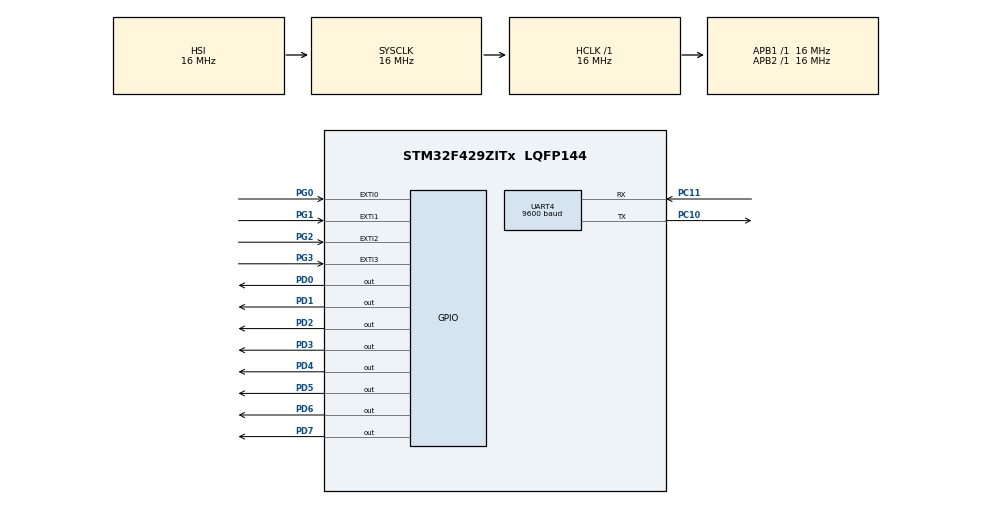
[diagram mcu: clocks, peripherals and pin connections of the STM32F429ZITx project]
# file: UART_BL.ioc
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Mcu.Family=STM32F4
Mcu.Name=STM32F429ZITx
Mcu.Package=LQFP144
NVIC.EXTI0_IRQn=true\:0\:0\:false\:false\:true\:true\:true
NVIC.EXTI1_IRQn=true\:0\:0\:false\:false\:true\:true\:true
NVIC.EXTI2_IRQn=true\:0\:0\:false\:false\:true\:true\:true
NVIC.EXTI3_IRQn=true\:0\:0\:false\:false\:true\:true\:true
NVIC.PriorityGroup=NVIC_PRIORITYGROUP_4
NVIC.UART4_IRQn=true\:0\:0\:false\:false\:true\:true\:true
PC10.Mode=Asynchronous
PC10.Signal=UART4_TX
PC11.Mode=Asynchronous
PC11.Signal=UART4_RX
PD0.GPIO_ModeDefaultOutputPP=GPIO_MODE_OUTPUT_PP
PD0.GPIO_PuPd=GPIO_PULLUP
PD0.GPIO_Speed=GPIO_SPEED_FREQ_HIGH
PD0.PinState=GPIO_PIN_RESET
PD0.Signal=GPIO_Output
PD1.GPIO_ModeDefaultOutputPP=GPIO_MODE_OUTPUT_PP
PD1.GPIO_PuPd=GPIO_PULLUP
PD1.GPIO_Speed=GPIO_SPEED_FREQ_HIGH
PD1.PinState=GPIO_PIN_RESET
PD1.Signal=GPIO_Output
PD2.GPIO_ModeDefaultOutputPP=GPIO_MODE_OUTPUT_PP
PD2.GPIO_PuPd=GPIO_PULLUP
PD2.GPIO_Speed=GPIO_SPEED_FREQ_HIGH
PD2.PinState=GPIO_PIN_RESET
PD2.Signal=GPIO_Output
PD3.GPIO_ModeDefaultOutputPP=GPIO_MODE_OUTPUT_PP
PD3.GPIO_PuPd=GPIO_PULLUP
PD3.GPIO_Speed=GPIO_SPEED_FREQ_HIGH
PD3.PinState=GPIO_PIN_RESET
PD3.Signal=GPIO_Output
PD4.GPIO_ModeDefaultOutputPP=GPIO_MODE_OUTPUT_PP
PD4.GPIO_PuPd=GPIO_PULLUP
PD4.GPIO_Speed=GPIO_SPEED_FREQ_HIGH
PD4.PinState=GPIO_PIN_RESET
PD4.Signal=GPIO_Output
PD5.GPIO_ModeDefaultOutputPP=GPIO_MODE_OUTPUT_PP
PD5.GPIO_PuPd=GPIO_PULLUP
PD5.GPIO_Speed=GPIO_SPEED_FREQ_HIGH
PD5.PinState=GPIO_PIN_RESET
PD5.Signal=GPIO_Output
PD6.GPIO_ModeDefaultOutputPP=GPIO_MODE_OUTPUT_PP
PD6.GPIO_PuPd=GPIO_PULLUP
PD6.GPIO_Speed=GPIO_SPEED_FREQ_HIGH
PD6.PinState=GPIO_PIN_RESET
PD6.Signal=GPIO_Output
PD7.GPIO_ModeDefaultOutputPP=GPIO_MODE_OUTPUT_PP
PD7.GPIO_PuPd=GPIO_PULLUP
PD7.GPIO_Speed=GPIO_SPEED_FREQ_HIGH
PD7.PinState=GPIO_PIN_RESET
PD7.Signal=GPIO_Output
PD8.Signal=USART3_TX
PD9.Signal=USART3_RX
PG0.GPIO_ModeDefaultEXTI=GPIO_MODE_IT_FALLING
PG0.GPIO_PuPd=GPIO_NOPULL
PG0.Signal=GPXTI0
PG1.GPIO_ModeDefaultEXTI=GPIO_MODE_IT_FALLING
PG1.GPIO_PuPd=GPIO_NOPULL
PG1.Signal=GPXTI1
PG2.GPIO_ModeDefaultEXTI=GPIO_MODE_IT_FALLING
PG2.GPIO_PuPd=GPIO_NOPULL
PG2.Signal=GPXTI2
PG3.GPIO_ModeDefaultEXTI=GPIO_MODE_IT_FALLING
PG3.GPIO_PuPd=GPIO_NOPULL
PG3.Signal=GPXTI3
ProjectManager.HeapSize=0x200
ProjectManager.StackSize=0x400
ProjectManager.TargetToolchain=STM32CubeIDE
RCC.AHBFreq_Value=16000000
RCC.APB1Freq_Value=16000000
RCC.APB2Freq_Value=16000000
RCC.CortexFreq_Value=16000000
RCC.HSE_VALUE=25000000
RCC.HSI_VALUE=16000000
RCC.LSE_VALUE=32768
RCC.SYSCLKFreq_VALUE=16000000
RCC.VCOOutputFreq_Value=192000000
UART4.BaudRate=9600
UART4.VirtualMode=Asynchronous
board=custom

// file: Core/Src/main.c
/* USER CODE BEGIN Header */
/**
  ******************************************************************************
  * @file           : main.c
  * @brief          : Main program body
  ******************************************************************************
  * @attention
  *
  * <h2><center>&copy; Copyright (c) 2021 STMicroelectronics.
  * All rights reserved.</center></h2>
  *
  * This software component is licensed by ST under BSD 3-Clause license,
  * the "License"; You may not use this file except in compliance with the
  * License. You may obtain a copy of the License at:
  *                        opensource.org/licenses/BSD-3-Clause
  *
  ******************************************************************************
  */
/* USER CODE END Header */
#include "main.h"

/* USER CODE BEGIN Includes */
#include "string.h"
/* USER CODE END Includes */

/* USER CODE BEGIN PD */

#define TxBufferSize	(countof(TxBuffer) - 1)
#define RxBufferSize	5
#define countof(a)   (sizeof(a) / sizeof(*(a)))
#define sw01_size   (countof(sw01txbuffer) -1)
#define sw02_size   (countof(sw02txbuffer) -1)
#define sw03_size   (countof(sw03txbuffer) -1)
#define sw04_size   (countof(sw04txbuffer) -1)

uint8_t sw01txbuffer[] = "<S11>";
uint8_t sw02txbuffer[] = "<S22>";
uint8_t sw03txbuffer[] = "<S33>";
uint8_t sw04txbuffer[] = "<S44>";
uint8_t base_protocol =0x00;

/* USER CODE END PD */

UART_HandleTypeDef huart4;

/* USER CODE BEGIN PV */

uint8_t TxBuffer[] = "\n\rUART-BlueTooth Example\n\r\n\r";
uint8_t RxBuffer[RxBufferSize];

/* USER CODE END PV */

void SystemClock_Config(void);
static void MX_GPIO_Init(void);
static void MX_UART4_Init(void);
/* USER CODE BEGIN PFP */

void LED_Pin_Mode(uint16_t gpio_pin, unsigned char on_off);
void LED_OnOff(int, int);

/* USER CODE END PFP */

int main(void)
{

  /* MCU Configuration--------------------------------------------------------*/

  /* Reset of all peripherals, Initializes the Flash interface and the Systick. */
  HAL_Init();

  /* Configure the system clock */
  SystemClock_Config();

  /* Initialize all configured peripherals */
  MX_GPIO_Init();
  MX_UART4_Init();
  /* USER CODE BEGIN 2 */

  LED_OnOff(LED_ALL, 500);
  HAL_UART_Transmit(&huart4, (uint8_t*)TxBuffer, TxBufferSize, 0xFFFF);

  /* USER CODE END 2 */

  /* Infinite loop */
  /* USER CODE BEGIN WHILE */
  while (1)
  {
		// -- PC에서 보낸 메시지를 받는다.
		HAL_UART_Receive_IT(&huart4, (uint8_t*)RxBuffer,sizeof(RxBuffer));
    /* USER CODE END WHILE */

  }
}

void SystemClock_Config(void)
{
  RCC_OscInitTypeDef RCC_OscInitStruct = {0};
  RCC_ClkInitTypeDef RCC_ClkInitStruct = {0};

  /** Configure the main internal regulator output voltage
  */
  __HAL_RCC_PWR_CLK_ENABLE();
  __HAL_PWR_VOLTAGESCALING_CONFIG(PWR_REGULATOR_VOLTAGE_SCALE3);
  /** Initializes the RCC Oscillators according to the specified parameters
  * in the RCC_OscInitTypeDef structure.
  */
  RCC_OscInitStruct.OscillatorType = RCC_OSCILLATORTYPE_HSI;
  RCC_OscInitStruct.HSIState = RCC_HSI_ON;
  RCC_OscInitStruct.HSICalibrationValue = RCC_HSICALIBRATION_DEFAULT;
  RCC_OscInitStruct.PLL.PLLState = RCC_PLL_NONE;
  if (HAL_RCC_OscConfig(&RCC_OscInitStruct) != HAL_OK)
  {
    Error_Handler();
  }
  /** Initializes the CPU, AHB and APB buses clocks
  */
  RCC_ClkInitStruct.ClockType = RCC_CLOCKTYPE_HCLK|RCC_CLOCKTYPE_SYSCLK
                              |RCC_CLOCKTYPE_PCLK1|RCC_CLOCKTYPE_PCLK2;
  RCC_ClkInitStruct.SYSCLKSource = RCC_SYSCLKSOURCE_HSI;
  RCC_ClkInitStruct.AHBCLKDivider = RCC_SYSCLK_DIV1;
  RCC_ClkInitStruct.APB1CLKDivider = RCC_HCLK_DIV1;
  RCC_ClkInitStruct.APB2CLKDivider = RCC_HCLK_DIV1;

  if (HAL_RCC_ClockConfig(&RCC_ClkInitStruct, FLASH_LATENCY_0) != HAL_OK)
  {
    Error_Handler();
  }
}

static void MX_UART4_Init(void)
{

  huart4.Instance = UART4;
  huart4.Init.BaudRate = 9600;
  huart4.Init.WordLength = UART_WORDLENGTH_8B;
  huart4.Init.StopBits = UART_STOPBITS_1;
  huart4.Init.Parity = UART_PARITY_NONE;
  huart4.Init.Mode = UART_MODE_TX_RX;
  huart4.Init.HwFlowCtl = UART_HWCONTROL_NONE;
  huart4.Init.OverSampling = UART_OVERSAMPLING_16;
  if (HAL_UART_Init(&huart4) != HAL_OK)
  {
    Error_Handler();
  }

}

static void MX_GPIO_Init(void)
{
  GPIO_InitTypeDef GPIO_InitStruct = {0};

  /* GPIO Ports Clock Enable */
  __HAL_RCC_GPIOG_CLK_ENABLE();
  __HAL_RCC_GPIOD_CLK_ENABLE();
  __HAL_RCC_GPIOC_CLK_ENABLE();

  /*Configure GPIO pin Output Level */
  HAL_GPIO_WritePin(GPIOD, GPIO_PIN_0|GPIO_PIN_1|GPIO_PIN_2|GPIO_PIN_3
                          |GPIO_PIN_4|GPIO_PIN_5|GPIO_PIN_6|GPIO_PIN_7, GPIO_PIN_RESET);

  /*Configure GPIO pins : PG0 PG1 PG2 PG3 */
  GPIO_InitStruct.Pin = GPIO_PIN_0|GPIO_PIN_1|GPIO_PIN_2|GPIO_PIN_3;
  GPIO_InitStruct.Mode = GPIO_MODE_IT_FALLING;
  GPIO_InitStruct.Pull = GPIO_NOPULL;
  HAL_GPIO_Init(GPIOG, &GPIO_InitStruct);

  /*Configure GPIO pins : PD8 PD9 */
  GPIO_InitStruct.Pin = GPIO_PIN_8|GPIO_PIN_9;
  GPIO_InitStruct.Mode = GPIO_MODE_AF_PP;
  GPIO_InitStruct.Pull = GPIO_NOPULL;
  GPIO_InitStruct.Speed = GPIO_SPEED_FREQ_VERY_HIGH;
  GPIO_InitStruct.Alternate = GPIO_AF7_USART3;
  HAL_GPIO_Init(GPIOD, &GPIO_InitStruct);

  /*Configure GPIO pins : PD0 PD1 PD2 PD3
                           PD4 PD5 PD6 PD7 */
  GPIO_InitStruct.Pin = GPIO_PIN_0|GPIO_PIN_1|GPIO_PIN_2|GPIO_PIN_3
                          |GPIO_PIN_4|GPIO_PIN_5|GPIO_PIN_6|GPIO_PIN_7;
  GPIO_InitStruct.Mode = GPIO_MODE_OUTPUT_PP;
  GPIO_InitStruct.Pull = GPIO_PULLUP;
  GPIO_InitStruct.Speed = GPIO_SPEED_FREQ_HIGH;
  HAL_GPIO_Init(GPIOD, &GPIO_InitStruct);

  /* EXTI interrupt init*/
  HAL_NVIC_SetPriority(EXTI0_IRQn, 0, 0);
  HAL_NVIC_EnableIRQ(EXTI0_IRQn);

  HAL_NVIC_SetPriority(EXTI1_IRQn, 0, 0);
  HAL_NVIC_EnableIRQ(EXTI1_IRQn);

  HAL_NVIC_SetPriority(EXTI2_IRQn, 0, 0);
  HAL_NVIC_EnableIRQ(EXTI2_IRQn);

  HAL_NVIC_SetPriority(EXTI3_IRQn, 0, 0);
  HAL_NVIC_EnableIRQ(EXTI3_IRQn);

}

/* USER CODE BEGIN 4 */

void LED_OnOff(int led, int interval)
{
	HAL_GPIO_WritePin(GPIO_LED, led, GPIO_PIN_SET );
	HAL_GPIO_WritePin(GPIO_LED_Nucleo, led, GPIO_PIN_SET );

	HAL_Delay(interval);

	HAL_GPIO_WritePin(GPIO_LED, led, GPIO_PIN_RESET );
	HAL_GPIO_WritePin(GPIO_LED_Nucleo, led, GPIO_PIN_RESET );
}

// -- 수신 데이터가 들어오면 호출되는 callback 함수
void HAL_UART_RxCpltCallback(UART_HandleTypeDef *huart4)
{

	// -- 꺽쇠'<>'안의 첫번째 비트를 검사
	if(RxBuffer[1] == 'L') {
		// -- 꺽쇠'<>'안의 두번째 비트를 검사
		switch(RxBuffer[2])	{
			case '1' : LED_Pin_Mode(GPIO_PIN_0, RxBuffer[3]);	break;
			case '2' : LED_Pin_Mode(GPIO_PIN_1, RxBuffer[3]);	break;
			case '3' : LED_Pin_Mode(GPIO_PIN_2, RxBuffer[3]);	break;
			case '4' : LED_Pin_Mode(GPIO_PIN_3, RxBuffer[3]);	break;
			case '5' : LED_Pin_Mode(GPIO_PIN_4, RxBuffer[3]);	break;
			case '6' : LED_Pin_Mode(GPIO_PIN_5, RxBuffer[3]);	break;
			case '7' : LED_Pin_Mode(GPIO_PIN_6, RxBuffer[3]);	break;
			case '8' : LED_Pin_Mode(GPIO_PIN_7, RxBuffer[3]);	break;

			default:   break;
		}
	}
}

	// -- 꺽쇠'<>'안의 3번째 비트에 따라 LED를 ON/OFF 한다.
void LED_Pin_Mode(uint16_t gpio_pin, unsigned char on_off)
{
	switch(on_off) {
		case '0': HAL_GPIO_WritePin(GPIO_LED,gpio_pin,GPIO_PIN_RESET);  break;
		case '1': HAL_GPIO_WritePin(GPIO_LED,gpio_pin,GPIO_PIN_SET);    break;
		default: break;
	}
}

// -- SW가 눌러지면 해당되는 메시지를 PC로 전송한다.
void HAL_GPIO_EXTI_Callback(uint16_t GPIO_PIN)
{

if ( GPIO_PIN == SW1)
	HAL_UART_Transmit(&huart4, (uint8_t*)sw01txbuffer, sw01_size , 0xFFFF);
else if ( GPIO_PIN == SW2)
	HAL_UART_Transmit(&huart4, (uint8_t*)sw02txbuffer, sw02_size , 0xFFFF);
else if ( GPIO_PIN == SW3)
	HAL_UART_Transmit(&huart4, (uint8_t*)sw03txbuffer, sw03_size , 0xFFFF);
else if ( GPIO_PIN == SW4)
	HAL_UART_Transmit(&huart4, (uint8_t*)sw04txbuffer, sw04_size , 0xFFFF);
}

/* USER CODE END 4 */

void Error_Handler(void)
{
  __disable_irq();
  while (1)
  {
  }
}

/************************ (C) COPYRIGHT STMicroelectronics *****END OF FILE****/
